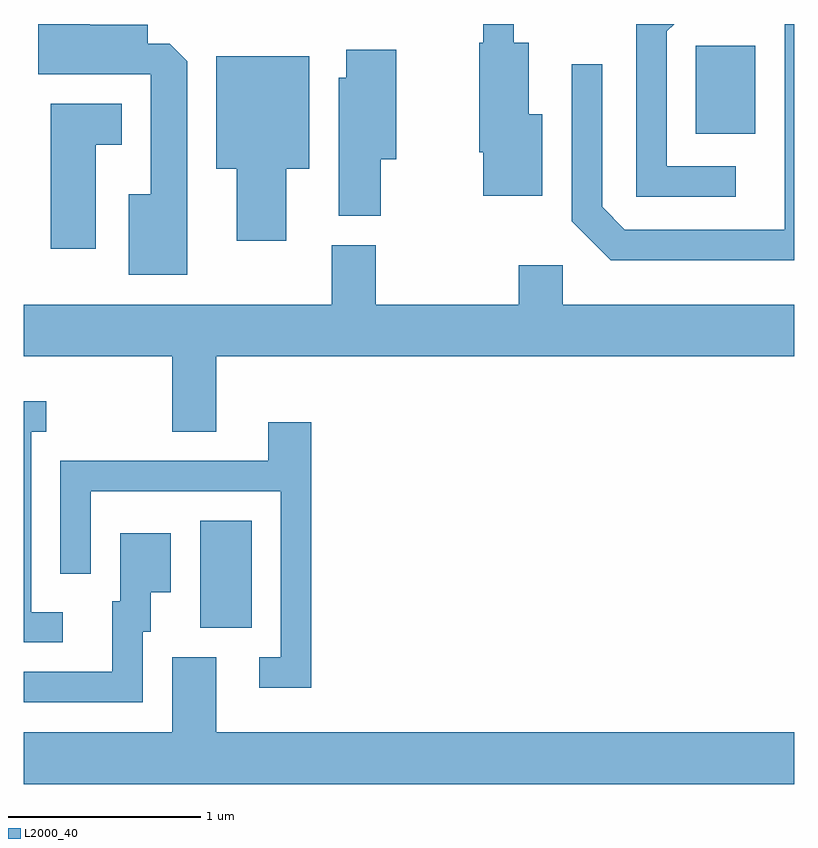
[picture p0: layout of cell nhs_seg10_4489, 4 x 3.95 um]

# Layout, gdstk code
import gdstk
lib = gdstk.Library(unit=1e-6, precision=1e-09)
def R(c, l, rs):  # rectangles x0, y0, x1, y1
    for r in rs: c.add(gdstk.rectangle(r[:2], r[2:], *l))
def P(c, l, *ps):  # polygons
    for p in ps: c.add(gdstk.Polygon(p, *l))
L2000_40 = (2000, 40)

nhs_seg10_4489 = lib.new_cell('nhs_seg10_4489')
R(nhs_seg10_4489, L2000_40, [(318.526,2121.386,318.794,2121.944), (321.101,2123.951,321.409,2124.409)])
P(nhs_seg10_4489, L2000_40, [(321.308,2123.784),(320.949,2123.784),(320.949,2124.484),(320.987,2124.522),(320.791,2124.522),(320.791,2123.626),(321.308,2123.626)],
  [(321.611,2124.522),(321.561,2124.522),(321.561,2123.454),(320.732,2123.454),(320.614,2123.572),(320.614,2124.313),(320.456,2124.313),(320.456,2123.499),(320.659,2123.296),(321.611,2123.296)],
  [(318.459,2124.329),(318.369,2124.419),(318.254,2124.419),(318.254,2124.519),(317.954,2124.519),(317.954,2124.522),(317.686,2124.522),(317.686,2124.261),(318.271,2124.261),(318.271,2123.639),(318.156,2123.639),(318.156,2123.221),(318.459,2123.221)],
  [(320.304,2124.054),(320.234,2124.054),(320.234,2124.424),(320.154,2124.424),(320.154,2124.522),(319.996,2124.522),(319.996,2124.424),(319.976,2124.424),(319.976,2123.856),(319.996,2123.856),(319.996,2123.631),(320.304,2123.631)],
  [(319.464,2123.821),(319.544,2123.821),(319.544,2124.389),(319.286,2124.389),(319.286,2124.244),(319.246,2124.244),(319.246,2123.526),(319.464,2123.526)],
  [(318.974,2123.771),(319.094,2123.771),(319.094,2124.354),(318.611,2124.354),(318.611,2123.771),(318.716,2123.771),(318.716,2123.396),(318.974,2123.396)],
  [(317.984,2123.896),(318.119,2123.896),(318.119,2124.109),(317.751,2124.109),(317.751,2123.356),(317.984,2123.356)],
  [(318.609,2122.796),(321.611,2122.796),(321.611,2123.064),(320.409,2123.064),(320.409,2123.269),(320.181,2123.269),(320.181,2123.064),(319.439,2123.064),(319.439,2123.374),(319.211,2123.374),(319.211,2123.064),(317.611,2123.064),(317.611,2122.796),(318.381,2122.796),(318.381,2122.406),(318.609,2122.406)],
  [(317.813,2121.469),(317.649,2121.469),(317.649,2122.406),(317.728,2122.406),(317.728,2122.564),(317.611,2122.564),(317.611,2121.311),(317.813,2121.311)],
  [(319.104,2122.454),(318.881,2122.454),(318.881,2122.254),(317.801,2122.254),(317.801,2121.668),(317.959,2121.668),(317.959,2122.096),(318.946,2122.096),(318.946,2121.234),(318.833,2121.234),(318.833,2121.076),(319.104,2121.076)],
  [(318.229,2121.366),(318.269,2121.366),(318.269,2121.571),(318.374,2121.571),(318.374,2121.879),(318.111,2121.879),(318.111,2121.524),(318.071,2121.524),(318.071,2121.159),(317.611,2121.159),(317.611,2121.001),(318.229,2121.001)],
  [(321.611,2120.844),(318.609,2120.844),(318.609,2121.234),(318.381,2121.234),(318.381,2120.844),(317.611,2120.844),(317.611,2120.576),(321.611,2120.576)])

lib.write_gds('nhs_seg10_4489.gds')
